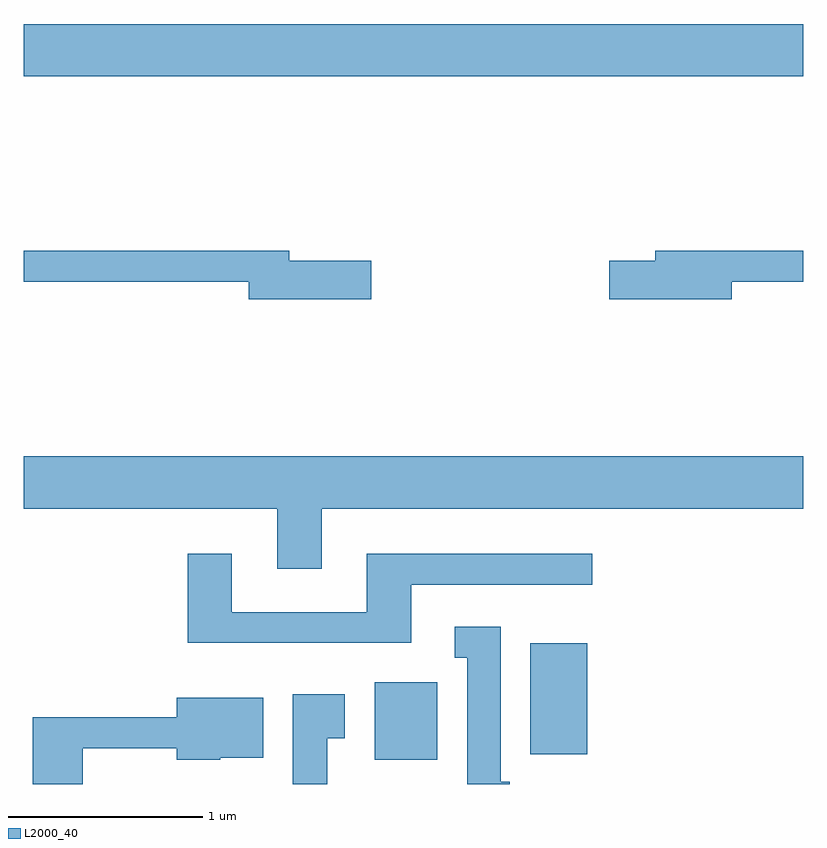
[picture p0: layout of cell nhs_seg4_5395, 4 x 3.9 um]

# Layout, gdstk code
import gdstk
lib = gdstk.Library(unit=1e-6, precision=1e-09)
def R(c, l, rs):  # rectangles x0, y0, x1, y1
    for r in rs: c.add(gdstk.rectangle(r[:2], r[2:], *l))
def P(c, l, *ps):  # polygons
    for p in ps: c.add(gdstk.Polygon(p, *l))
L2000_40 = (2000, 40)

nhs_seg4_5395 = lib.new_cell('nhs_seg4_5395')
R(nhs_seg4_5395, L2000_40, [(345.411,1300.106,345.734,1300.504), (346.211,1300.136,346.504,1300.704), (343.611,1303.616,347.611,1303.884)])
P(nhs_seg4_5395, L2000_40, [(347.244,1302.561),(347.611,1302.561),(347.611,1302.719),(346.851,1302.719),(346.851,1302.669),(346.616,1302.669),(346.616,1302.471),(347.244,1302.471)],
  [(345.394,1302.669),(344.974,1302.669),(344.974,1302.719),(343.611,1302.719),(343.611,1302.561),(344.766,1302.561),(344.766,1302.471),(345.394,1302.471)],
  [(345.139,1301.396),(347.611,1301.396),(347.611,1301.664),(343.611,1301.664),(343.611,1301.396),(344.911,1301.396),(344.911,1301.086),(345.139,1301.086)],
  [(345.599,1301.006),(346.528,1301.006),(346.528,1301.164),(345.371,1301.164),(345.371,1300.864),(344.679,1300.864),(344.679,1301.164),(344.451,1301.164),(344.451,1300.706),(345.599,1300.706)],
  [(346.104,1299.994),(346.059,1299.994),(346.059,1300.789),(345.823,1300.789),(345.823,1300.631),(345.886,1300.631),(345.886,1299.982),(346.104,1299.982)],
  [(345.169,1300.216),(345.259,1300.216),(345.259,1300.444),(344.991,1300.444),(344.991,1299.982),(345.169,1299.982)],
  [(343.914,1300.166),(344.396,1300.166),(344.396,1300.106),(344.62,1300.106),(344.62,1300.116),(344.839,1300.116),(344.839,1300.424),(344.396,1300.424),(344.396,1300.324),(343.656,1300.324),(343.656,1299.982),(343.914,1299.982)])

lib.write_gds('nhs_seg4_5395.gds')
